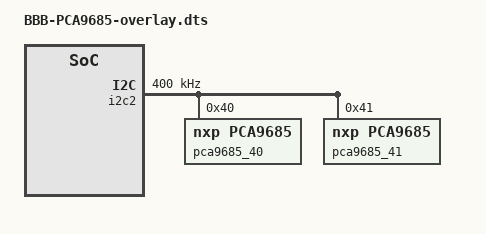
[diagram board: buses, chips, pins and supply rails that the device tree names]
/*
 * Hexapod Project - A Reinforcement Learning-based Autonomous Hexapod
 * Copyright (C) 2025  Nguyen Trong Phuc
 *
 * This program is free software; you can redistribute it and/or modify
 * it under the terms of the GNU General Public License as published by
 * the Free Software Foundation; either version 2 of the License, or
 * (at your option) any later version.
 *
 * This program is distributed in the hope that it will be useful,
 * but WITHOUT ANY WARRANTY; without even the implied warranty of
 * MERCHANTABILITY or FITNESS FOR A PARTICULAR PURPOSE.  See the
 * GNU General Public License for more details.
 *
 * You should have received a copy of the GNU General Public License
 * along with this program; if not, write to the Free Software Foundation,
 * Inc., 51 Franklin Street, Fifth Floor, Boston, MA 02110-1301 USA.
 */

/*
 * Device Tree Source for BeagleBone Black with PCA9685 PWM driver
 * This overlay configures the I2C bus and the PCA9685 PWM driver.
 * It assumes the PCA9685 is connected to I2C2 and uses the default I2C address.
 * Adjust the I2C address and GPIO pins as needed.
 */

/dts-v1/;
/plugin/;

/ {
    compatible = "ti,beaglebone-black";

    fragment@0 {
        target = <&i2c2>;
        __overlay__ {
            status = "okay";
            clock-frequency = <400000>;
        };
    };

    fragment@1 {
        target = <&i2c2>;
        __overlay__ {
            pca9685_40: pca9685@40 {
                compatible = "nxp,pca9685";
                reg = <0x40>;
                #pwm-cells = <2>;
                status = "okay";
            };

            pca9685_41: pca9685@41 {
                compatible = "nxp,pca9685";
                reg = <0x41>;
                #pwm-cells = <2>;
                status = "okay";
            };
        };
    };
};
